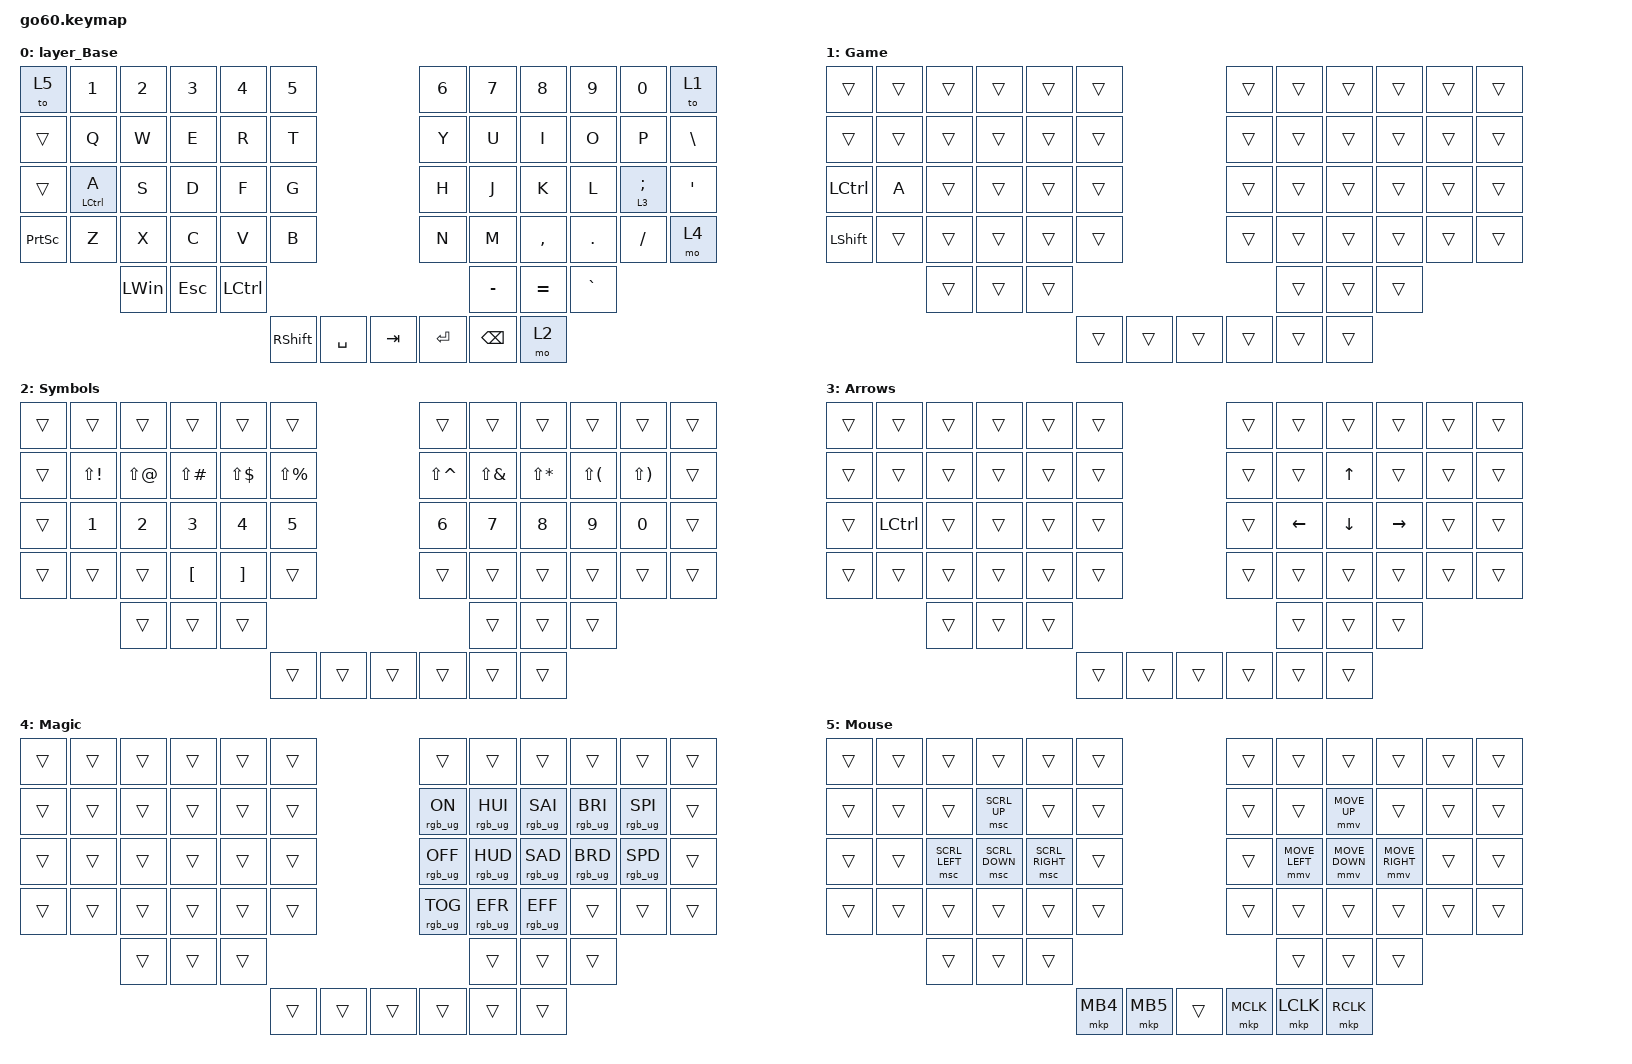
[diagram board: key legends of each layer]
/*
 * Copyright (c) 2020 The ZMK Contributors
 *
 * SPDX-License-Identifier: MIT
 */

#include <dt-bindings/zmk/input_transform.h>
#include <input/processors.dtsi>
#include <zephyr/dt-bindings/input/input-event-codes.h>
#include <behaviors.dtsi>
#include <dt-bindings/zmk/bt.h>
#include <dt-bindings/zmk/keys.h>
#include <dt-bindings/zmk/outputs.h>
#include <dt-bindings/zmk/pointing.h>
#include <dt-bindings/zmk/rgb.h>

// layers

#define LAYER_Base 0
#define LAYER_Keypad 1
#define LAYER_SymbolNav 2
#define LAYER_Magic 3
#define LAYER_Factory 4

/ {
    input_processors {
        zip_click_to_right_click_mapper: zip_click_to_right_click_mapper {
            compatible = "zmk,input-processor-code-mapper";
            #input-processor-cells = <0>;
            type = <INPUT_EV_KEY>;
            map = <INPUT_BTN_0 INPUT_BTN_1>;
        };
    };

    behaviors {
        magic: magic {
            compatible = "zmk,behavior-hold-tap";
            #binding-cells = <2>;
            flavor = "tap-preferred";
            tapping-term-ms = <200>;
            bindings = <&mo>, <&rgb_ug_status_macro>;
        };

        keypad_td: keypad_td {
            compatible = "zmk,behavior-tap-dance";
            #binding-cells = <0>;
            tapping-term-ms = <200>;
            bindings = <&mo 0>, <&to 0>;
        };

        symbol_nav_td: symbol_nav_td {
            compatible = "zmk,behavior-tap-dance";
            #binding-cells = <0>;
            tapping-term-ms = <200>;
            bindings = <&mo 0>, <&to 0>;
        };

        bt_0: bt_0 {
            compatible = "zmk,behavior-tap-dance";
            #binding-cells = <0>;
            tapping-term-ms = <200>;
            bindings = <&bt_select_0>, <&bt BT_DISC 0>;
        };

        bt_1: bt_1 {
            compatible = "zmk,behavior-tap-dance";
            #binding-cells = <0>;
            tapping-term-ms = <200>;
            bindings = <&bt_select_1>, <&bt BT_DISC 1>;
        };

        bt_2: bt_2 {
            compatible = "zmk,behavior-tap-dance";
            #binding-cells = <0>;
            tapping-term-ms = <200>;
            bindings = <&bt_select_2>, <&bt BT_DISC 2>;
        };

        bt_3: bt_3 {
            compatible = "zmk,behavior-tap-dance";
            #binding-cells = <0>;
            tapping-term-ms = <200>;
            bindings = <&bt_select_3>, <&bt BT_DISC 3>;
        };
    };

    macros {
        rgb_ug_status_macro: rgb_ug_status_macro {
            compatible = "zmk,behavior-macro";
            #binding-cells = <0>;
            bindings = <&rgb_ug RGB_STATUS>;
        };

        bt_select_0: bt_select_0 {
            compatible = "zmk,behavior-macro";
            #binding-cells = <0>;
            bindings = <&out OUT_BLE &bt BT_SEL 0>;
        };

        bt_select_1: bt_select_1 {
            compatible = "zmk,behavior-macro";
            #binding-cells = <0>;
            bindings = <&out OUT_BLE &bt BT_SEL 1>;
        };

        bt_select_2: bt_select_2 {
            compatible = "zmk,behavior-macro";
            #binding-cells = <0>;
            bindings = <&out OUT_BLE &bt BT_SEL 2>;
        };

        bt_select_3: bt_select_3 {
            compatible = "zmk,behavior-macro";
            #binding-cells = <0>;
            bindings = <&out OUT_BLE &bt BT_SEL 3>;
        };
    };

    keymap {
        compatible = "zmk,keymap";

        layer_Base {
            bindings = <
&to 5            &kp N1       &kp N2        &kp N3      &kp N4     &kp N5                                                                        &kp N6  &kp N7     &kp N8     &kp N9     &kp N0           &to 1
&trans           &kp Q        &kp W         &kp E       &kp R      &kp T                                                                         &kp Y   &kp U      &kp I      &kp O      &kp P            &kp BSLH
&trans           &mt LCTRL A  &kp S         &kp D       &kp F      &kp G                                                                         &kp H   &kp J      &kp K      &kp L      &lt 3 SEMICOLON  &kp SQT
&kp PRINTSCREEN  &kp Z        &kp X         &kp C       &kp V      &kp B                                                                         &kp N   &kp M      &kp COMMA  &kp DOT    &kp FSLH         &mo 4
                              &kp LEFT_WIN  &kp ESCAPE  &kp LCTRL                                                                                        &kp MINUS  &kp EQUAL  &kp GRAVE
                                                                           &kp RIGHT_SHIFT  &kp SPACE  &kp TAB  &kp ENTER  &kp BACKSPACE  &mo 2
            >;
        };

        Game {
            bindings = <
&trans          &trans  &trans  &trans  &trans  &trans                                                  &trans  &trans  &trans  &trans  &trans  &trans
&trans          &trans  &trans  &trans  &trans  &trans                                                  &trans  &trans  &trans  &trans  &trans  &trans
&kp LCTRL       &kp A   &trans  &trans  &trans  &trans                                                  &trans  &trans  &trans  &trans  &trans  &trans
&kp LEFT_SHIFT  &trans  &trans  &trans  &trans  &trans                                                  &trans  &trans  &trans  &trans  &trans  &trans
                        &trans  &trans  &trans                                                                  &trans  &trans  &trans
                                                        &trans  &trans  &trans  &trans  &trans  &trans
            >;
        };

        Symbols {
            bindings = <
&trans  &trans        &trans      &trans            &trans             &trans                                                         &trans         &trans        &trans        &trans        &trans        &trans
&trans  &kp LS(EXCL)  &kp LS(AT)  &kp LS(POUND)     &kp LS(DLLR)       &kp LS(PRCNT)                                                  &kp LS(CARET)  &kp LS(AMPS)  &kp LS(STAR)  &kp LS(LPAR)  &kp LS(RPAR)  &trans
&trans  &kp N1        &kp N2      &kp N3            &kp N4             &kp N5                                                         &kp N6         &kp N7        &kp N8        &kp N9        &kp N0        &trans
&trans  &trans        &trans      &kp LEFT_BRACKET  &kp RIGHT_BRACKET  &trans                                                         &trans         &trans        &trans        &trans        &trans        &trans
                      &trans      &trans            &trans                                                                                           &trans        &trans        &trans
                                                                                      &trans  &trans  &trans  &trans  &trans  &trans
            >;
        };

        Arrows {
            bindings = <
&trans  &trans     &trans  &trans  &trans  &trans                                                  &trans  &trans          &trans          &trans           &trans  &trans
&trans  &trans     &trans  &trans  &trans  &trans                                                  &trans  &trans          &kp UP_ARROW    &trans           &trans  &trans
&trans  &kp LCTRL  &trans  &trans  &trans  &trans                                                  &trans  &kp LEFT_ARROW  &kp DOWN_ARROW  &kp RIGHT_ARROW  &trans  &trans
&trans  &trans     &trans  &trans  &trans  &trans                                                  &trans  &trans          &trans          &trans           &trans  &trans
                   &trans  &trans  &trans                                                                  &trans          &trans          &trans
                                                   &trans  &trans  &trans  &trans  &trans  &trans
            >;
        };

        Magic {
            bindings = <
&trans  &trans  &trans  &trans  &trans  &trans                                                  &trans           &trans           &trans           &trans           &trans           &trans
&trans  &trans  &trans  &trans  &trans  &trans                                                  &rgb_ug RGB_ON   &rgb_ug RGB_HUI  &rgb_ug RGB_SAI  &rgb_ug RGB_BRI  &rgb_ug RGB_SPI  &trans
&trans  &trans  &trans  &trans  &trans  &trans                                                  &rgb_ug RGB_OFF  &rgb_ug RGB_HUD  &rgb_ug RGB_SAD  &rgb_ug RGB_BRD  &rgb_ug RGB_SPD  &trans
&trans  &trans  &trans  &trans  &trans  &trans                                                  &rgb_ug RGB_TOG  &rgb_ug RGB_EFR  &rgb_ug RGB_EFF  &trans           &trans           &trans
                &trans  &trans  &trans                                                                           &trans           &trans           &trans
                                                &trans  &trans  &trans  &trans  &trans  &trans
            >;
        };

        Mouse {
            bindings = <
&trans  &trans  &trans          &trans          &trans           &trans                                                               &trans  &trans          &trans          &trans           &trans  &trans
&trans  &trans  &trans          &msc SCRL_UP    &trans           &trans                                                               &trans  &trans          &mmv MOVE_UP    &trans           &trans  &trans
&trans  &trans  &msc SCRL_LEFT  &msc SCRL_DOWN  &msc SCRL_RIGHT  &trans                                                               &trans  &mmv MOVE_LEFT  &mmv MOVE_DOWN  &mmv MOVE_RIGHT  &trans  &trans
&trans  &trans  &trans          &trans          &trans           &trans                                                               &trans  &trans          &trans          &trans           &trans  &trans
                &trans          &trans          &trans                                                                                        &trans          &trans          &trans
                                                                         &mkp MB4  &mkp MB5  &trans  &mkp MCLK  &mkp LCLK  &mkp RCLK
            >;
        };
    };
};

&cirque_rh_listener {
    input-processors = <&zip_xy_scaler 3 1>;

    layer_2 {
        layers = <2>;
        input-processors = <&zip_xy_scaler 9 1>;
    };
};

&cirque_lh_listener {
    input-processors =
        <&zip_xy_to_scroll_mapper>,
        <&zip_xy_scaler 1 8>,
        <&zip_click_to_right_click_mapper>;

    layer_4 {
        layers = <4>;
        input-processors = <&zip_xy_scaler 3 1>;
    };
};
